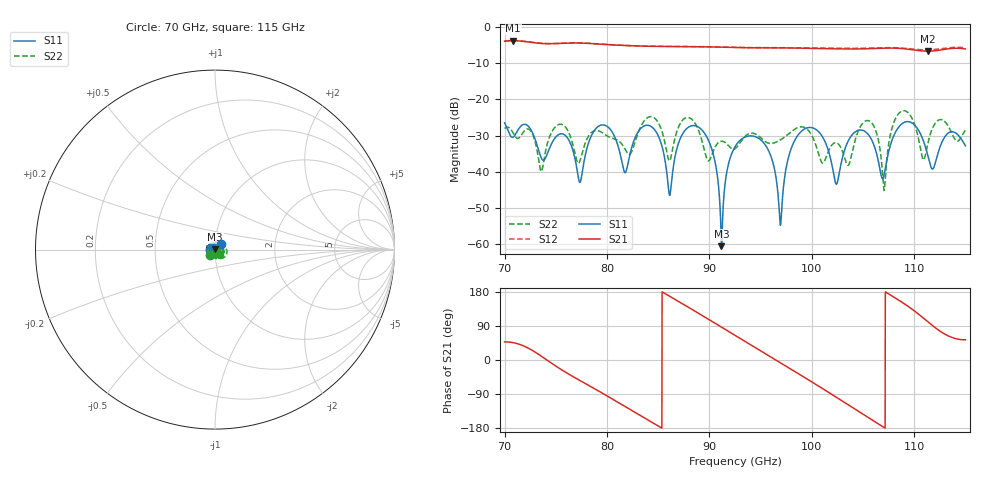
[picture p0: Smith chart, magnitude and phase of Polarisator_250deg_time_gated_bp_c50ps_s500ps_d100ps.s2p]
# Hz S RI R 1.000000
! Metas.Vna.Tools, 2.4.7898.19887
! Metas.Vna.Data, 2.4.7898.19873
! Created: UTC 2021.09.30 14:31:00
! FREQ  re:S1,1  im:S1,1  re:S2,1  im:S2,1  re:S1,2  im:S1,2  re:S2,2  im:S2,2
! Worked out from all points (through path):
!   2251 points, 70 GHz to 115 GHz, reference 1 ohm
!   highest |S21| = -3.91 dB at 70.84 GHz (marker M1); lowest = -6.8 dB at 111.3 GHz (marker M2)
!   lowest |S11| = -60.5 dB at 91.18 GHz (marker M3), VSWR 1.00, Z = 1 + j0.00187 ohm
!   |S11| at or under -10 dB: start of sweep to end of sweep
!   |S22| runs from -45.1 to -23.2 dB; largest |S21 - S12| = 0.1
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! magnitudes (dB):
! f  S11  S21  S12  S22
! 70 GHz  -26.5  -4.1  -4.0  -28.1
! 70.84 GHz  -30.4  -3.9  -3.8  -29.3
! 77.5 GHz  -41.6  -4.6  -4.5  -35.6
! 79.26 GHz  -27.3  -4.8  -4.8  -28.8
! 81.76 GHz  -40.2  -5.2  -5.2  -33.7
! 85 GHz  -30.1  -5.5  -5.4  -26.4
! 86.12 GHz  -46.5  -5.5  -5.4  -37.0
! 87.72 GHz  -28.3  -5.5  -5.5  -25.1
! 89.42 GHz  -29.0  -5.6  -5.5  -33.0
! 91.18 GHz  -60.5  -5.7  -5.7  -31.6
! 92.5 GHz  -33.1  -5.8  -5.7  -33.6
! 95.44 GHz  -32.5  -5.9  -5.8  -31.6
! 96.94 GHz  -54.7  -5.9  -5.8  -31.2
! 98.04 GHz  -33.2  -5.9  -5.8  -28.9
! 100 GHz  -27.8  -6.0  -5.9  -30.0
! 102.4 GHz  -43.4  -6.2  -6.0  -32.0
! 104.4 GHz  -28.8  -6.2  -6.0  -30.1
! 107.1 GHz  -40.9  -6.0  -5.8  -45.1
! 107.5 GHz  -34.5  -5.9  -5.8  -32.5
! 109 GHz  -26.5  -6.1  -6.0  -23.2
! 111.3 GHz  -35.6  -6.8  -6.4  -32.1
! 115 GHz  -32.8  -6.2  -5.9  -28.5
